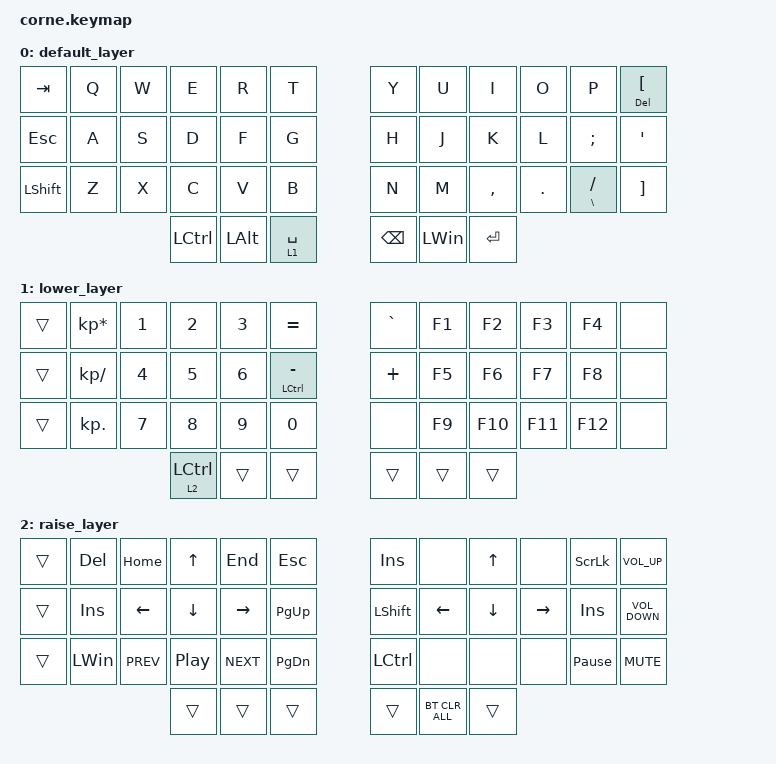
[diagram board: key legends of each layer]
#include <behaviors.dtsi>
#include <dt-bindings/zmk/bt.h>
#include <dt-bindings/zmk/keys.h>

#define DEF 0
#define LWR 1
#define RSE 2
#define ADJ 3

&lt { quick_tap_ms = <200>; };

&mt { quick_tap_ms = <200>; };

/ {
    keymap {
        compatible = "zmk,keymap";

        default_layer {
            bindings = <
&kp TAB    &kp Q  &kp W  &kp E      &kp R     &kp T          &kp Y          &kp U         &kp I      &kp O    &kp P          &mt DEL LEFT_BRACKET
&kp ESC    &kp A  &kp S  &kp D      &kp F     &kp G          &kp H          &kp J         &kp K      &kp L    &kp SEMI       &kp SQT
&kp LSHFT  &kp Z  &kp X  &kp C      &kp V     &kp B          &kp N          &kp M         &kp COMMA  &kp DOT  &mt BSLH FSLH  &kp RBKT
                         &kp LCTRL  &kp LALT  &lt 1 SPACE    &kp BACKSPACE  &kp LEFT_WIN  &kp ENTER
            >;
        };

        lower_layer {
            bindings = <
&trans  &kp KP_MULTIPLY  &kp NUMBER_1  &kp NUMBER_2  &kp NUMBER_3  &kp EQUAL          &kp GRAVE  &kp F1  &kp F2   &kp F3   &kp F4   &none
&trans  &kp KP_DIVIDE    &kp NUMBER_4  &kp NUMBER_5  &kp NUMBER_6  &mt LCTRL MINUS    &kp PLUS   &kp F5  &kp F6   &kp F7   &kp F8   &none
&trans  &kp KP_DOT       &kp NUMBER_7  &kp NUMBER_8  &kp NUMBER_9  &kp NUMBER_0       &none      &kp F9  &kp F10  &kp F11  &kp F12  &none
                                       &lt 2 LCTRL   &trans        &trans             &trans     &trans  &trans
            >;
        };

        raise_layer {
            bindings = <
&trans  &kp DELETE    &kp HOME    &kp UP_ARROW      &kp END     &kp ESC          &kp INSERT      &none           &kp UP    &none      &kp SLCK         &kp C_VOLUME_UP
&trans  &kp INS       &kp LEFT    &kp DOWN          &kp RIGHT   &kp PAGE_UP      &kp LEFT_SHIFT  &kp LEFT        &kp DOWN  &kp RIGHT  &kp INS          &kp C_VOLUME_DOWN
&trans  &kp LEFT_WIN  &kp C_PREV  &kp C_PLAY_PAUSE  &kp C_NEXT  &kp PAGE_DOWN    &kp LCTRL       &none           &none     &none      &kp PAUSE_BREAK  &kp K_MUTE
                                  &trans            &trans      &trans           &trans          &bt BT_CLR_ALL  &trans
            >;
        };
    };

    conditional_layers {
        compatible = "zmk,conditional-layers";

        adjust {
            if-layers = <1 2>;
            then-layer = <3>;
        };
    };
};
